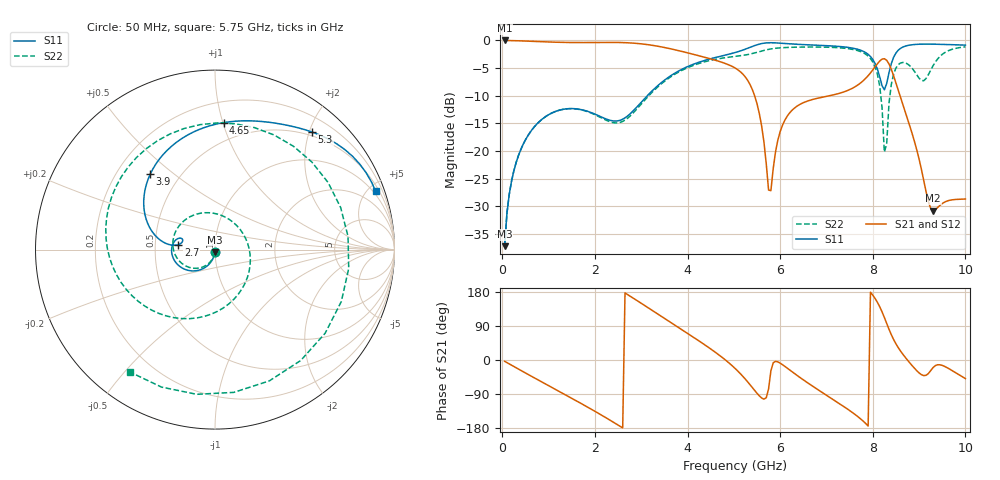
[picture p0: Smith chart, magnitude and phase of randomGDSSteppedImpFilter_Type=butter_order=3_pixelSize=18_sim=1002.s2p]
! freq	dB(S11)	phase(S11)	dB(S12)	phase(S12)
!  dB(S21)	phase(S21)	dB(S22)	phase(S22)
!S-par simulation data
#  GHz  S  DB  R 50
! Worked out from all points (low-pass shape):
!   200 points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, 50 MHz to 10 GHz, reference 50 ohm
!   highest |S21| = -0.01 dB at 50 MHz (marker M1); lowest = -30.8 dB at 9.3 GHz (marker M2)
!   |S21| within 3 dB of the highest: start of sweep to 4.351 GHz
!   lowest |S11| = -37.2 dB at 50 MHz (marker M3), VSWR 1.03, Z = 49.9 - j1.37 ohm
!   |S11| at or under -10 dB: start of sweep to 3.132 GHz
!   |S22| runs from -37.2 to -1.2 dB; largest |S21 - S12| = 0
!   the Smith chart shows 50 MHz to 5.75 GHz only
!   S11 on the Smith chart (normalised r, x): 50 MHz: 1.00, -0.03; 2.7 GHz: 0.66, +0.04; 3.9 GHz: 0.34, +0.41; 4.65 GHz: 0.35, +1.00; 5.3 GHz: 0.43, +2.05; 5.75 GHz: 0.80, +5.59
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0.05  -37.22 -93.5  -0.01 -3.5  -0.01 -3.5  -37.22 -94.0
0.5  -17.99 -122.3  -0.11 -34.2  -0.11 -34.2  -17.99 -127.6
1.75  -12.60 170.8  -0.38 -118.0  -0.38 -118.0  -12.65 132.3
2.7  -13.71 172.4  -0.42 173.1  -0.42 173.1  -14.11 -7.7
3.4  -7.88 158.5  -1.11 118.0  -1.11 118.0  -8.10 -104.8
3.9  -5.13 130.7  -2.03 78.2  -2.03 78.2  -5.32 -155.9
4.65  -2.99 86.2  -3.71 16.0  -3.71 16.0  -3.35 124.3
5.05  -2.14 64.2  -5.10 -24.9  -5.10 -24.9  -2.87 62.7
5.3  -1.42 50.4  -7.24 -57.9  -7.24 -57.9  -2.56 5.6
5.55  -0.67 34.1  -13.22 -94.6  -13.22 -94.6  -2.03 -67.5
5.75  -0.42 19.9  -27.07 -76.3  -27.07 -76.3  -1.61 -124.8
6.1  -0.55 -2.0  -14.45 -16.7  -14.45 -16.7  -1.29 160.1
6.7  -0.83 -32.8  -10.68 -69.0  -10.68 -69.0  -1.19 76.5
7.3  -1.11 -61.3  -9.52 -116.7  -9.52 -116.7  -1.34 9.9
7.85  -2.22 -90.4  -6.83 -167.9  -6.83 -167.9  -2.51 -54.6
8.15  -6.59 -104.1  -3.73 140.5  -3.73 140.5  -8.27 -108.7
8.25  -8.93 -82.2  -3.31 112.3  -3.31 112.3  -20.21 -109.6
8.35  -5.85 -61.6  -4.25 81.3  -4.25 81.3  -11.43 -14.3
8.65  -1.20 -83.9  -11.62 15.1  -11.62 15.1  -3.98 -85.5
8.95  -0.71 -102.3  -19.80 -28.3  -19.80 -28.3  -6.23 -170.0
9.3  -0.68 -118.7  -30.79 -20.3  -30.79 -20.3  -4.61 36.4
10  -0.85 -147.3  -28.69 -49.0  -28.69 -49.0  -1.17 -69.9
